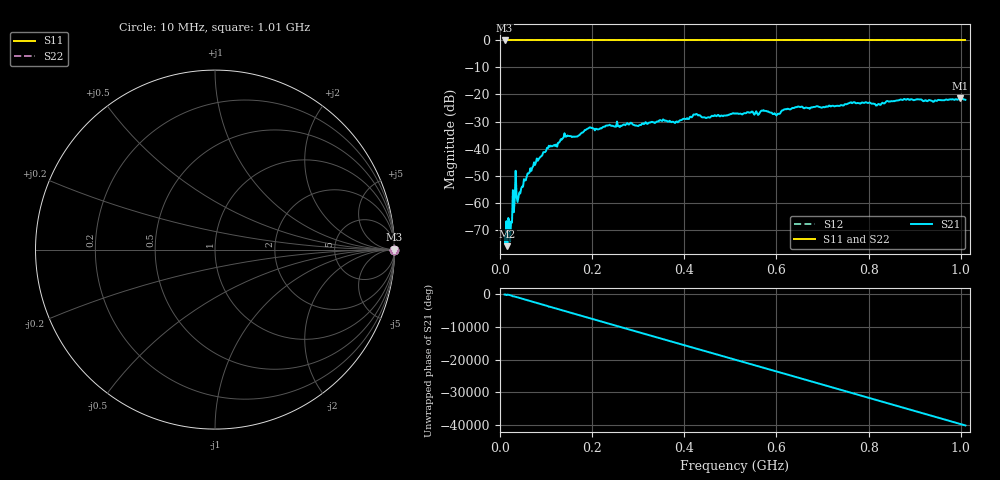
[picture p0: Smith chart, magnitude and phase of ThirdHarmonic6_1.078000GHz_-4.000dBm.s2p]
! 8/16/2025 9:51:42 AM
! C:\ANRITSUVNA\TEMP\TEMP.S2P
! CHANNEL.1
! TR.MEASUREMENT
! RAW.DATA
! RF.CORRECTION.OFF
! AVERAGING.OFF
! IF.BANDWIDTH: 5KHZ
! SWEEPTYPE:  FREQ.SWEEP(Linear)
! Reference Plane Port Info
! PORT:  PORT1  PORT2
! DISTANCE:  0  m  0  m
! TIME:  0  s  0  s
! PHASE.OFFSET:  0  deg.  0  deg.
! LOSS:  0  dB  0  dB
! REF.LOSS:  0  dB  0  dB
! REF.FREQ:  0  Hz  0  Hz
! Power Info
! POWER:  -20  dBm  -20  dBm
! EFF.POWER:  -20  dBm  -20  dBm
! SOURCE.ATTEN:  0  dB  0  dB
! TEST.ATTEN:  0  dB  0  dB
# GHZ S RI R 50.0
! FREQ.GHZ  S11RE  S11IM  S21RE  S21IM  S12RE  S12IM  S22RE  S22IM
!; PortSelection: Port_12
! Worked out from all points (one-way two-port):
!   501 points, 10 MHz to 1.01 GHz, reference 50 ohm
!   highest |S21| = -21.44 dB at 998 MHz (marker M1); lowest = -76.1 dB at 16 MHz (marker M2)
!   lowest |S11| = 0.0 dB at 10 MHz (marker M3)
!   |S11| at or under -10 dB: nowhere
!   |S22| runs from 0.0 to 0.0 dB; largest |S21 - S12| = 1.1
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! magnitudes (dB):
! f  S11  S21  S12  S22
! 10 MHz  0.0  -72.3  0.0  0.0
! 12 MHz  0.0  -75.3  0.0  0.0
! 16 MHz  0.0  -76.1  0.0  0.0
! 20 MHz  0.0  -66.8  0.0  0.0
! 26 MHz  0.0  -67.4  0.0  0.0
! 32 MHz  0.0  -58.6  0.0  0.0
! 38 MHz  0.0  -59.8  0.0  0.0
! 40 MHz  0.0  -57.9  0.0  0.0
! 56 MHz  0.0  -51.7  0.0  0.0
! 76 MHz  0.0  -46.1  0.0  0.0
! 136 MHz  0.0  -36.2  0.0  0.0
! 178 MHz  0.0  -34.1  0.0  0.0
! 196 MHz  0.0  -32.2  0.0  0.0
! 344 MHz  0.0  -30.0  0.0  0.0
! 510 MHz  0.0  -27.0  0.0  0.0
! 572 MHz  0.0  -25.8  0.0  0.0
! 602 MHz  0.0  -27.2  0.0  0.0
! 644 MHz  0.0  -24.7  0.0  0.0
! 678 MHz  0.0  -24.8  0.0  0.0
! 844 MHz  0.0  -22.6  0.0  0.0
! 998 MHz  0.0  -21.4  0.0  0.0
! 1.01 GHz  0.0  -22.0  0.0  0.0
